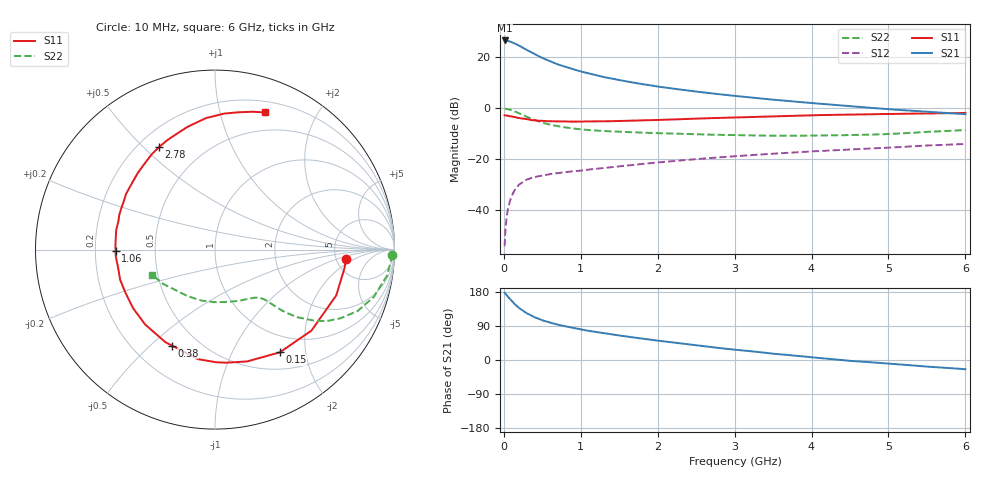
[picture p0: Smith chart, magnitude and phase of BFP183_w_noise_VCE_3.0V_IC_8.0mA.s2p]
! Infineon Technologies  Discrete & RF Semiconductors
! BFP183
! VCE = 3.0 V,  IC =  8.0 mA
! Common Emitter S-Parameters:  Jan 2016
# GHz  S  MA  R  50
!  f  S11  S21  S12  S22
! GHz  MAG  ANG  MAG  ANG  MAG  ANG  MAG  ANG
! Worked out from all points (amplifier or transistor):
!   210 points, 10 MHz to 6 GHz, reference 50 ohm
!   highest |S21| = 26.6 dB at 10 MHz (marker M1)
!   |S21| within 3 dB of that: start of sweep to 254.7 MHz
!   unconditionally stable (mu >= 1): 1.28 GHz to 5.692 GHz
!   at 185 MHz: K = 0.22, MSG = 27.5 dB, |S12| = -30.3 dB
!   at 1.52 GHz: K = 1.07, MAG = 15.2 dB, |S12| = -22.6 dB
!   at 6 GHz: K = 0.96, MSG = 5.8 dB, |S12| = -13.9 dB
!   lowest NFmin = 1.30 dB at 450 MHz
!   S11 on the Smith chart (normalised r, x): 10 MHz: 6.16, -1.39; 150 MHz: 0.74, -1.55; 380 MHz: 0.36, -0.59; 1.06 GHz: 0.29, -0.00; 2.78 GHz: 0.28, +0.56; 6 GHz: 0.31, +1.39
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0.01  0.7327 -4.1  21.4 177.6  0.002 83.6  0.9887 -1.7
0.025  0.7253 -10.3  21.25 174.1  0.005 83.7  0.9796 -4.3
0.05  0.7222 -20.7  21.1 167.6  0.01 83.7  0.9696 -8.6
0.1  0.7017 -40.1  19.88 156.2  0.0189 71.1  0.9233 -16.6
0.15  0.6767 -57.8  18.44 145.8  0.0265 64.3  0.8651 -23.3
0.2  0.6482 -74.0  16.94 136.8  0.0323 57.2  0.7984 -28.6
0.24  0.6331 -84.5  15.59 130.9  0.0356 53.4  0.7486 -31.9
0.3  0.6176 -98.9  13.92 123.2  0.0404 48.8  0.6809 -35.6
0.38  0.5861 -114.2  11.99 115.0  0.0443 44.7  0.609 -38.6
0.4  0.5851 -118.2  11.56 112.6  0.0453 43.8  0.5913 -39.5
0.5  0.5705 -133.0  9.699 104.8  0.0486 40.5  0.5248 -41.7
0.6  0.5612 -144.3  8.389 98.6  0.0516 39.3  0.4799 -42.9
0.8  0.5546 -162.3  6.507 88.7  0.0562 37.9  0.4235 -44.2
1.02  0.5538 -177.1  5.195 80.0  0.061 38.4  0.3858 -45.6
1.06  0.5541 -179.4  5.021 78.6  0.0622 38.5  0.3811 -45.9
1.5  0.5672 160.2  3.584 64.6  0.0734 39.4  0.3488 -50.1
2.02  0.5941 140.4  2.653 50.6  0.0876 39.7  0.3269 -57.8
2.78  0.6501 118.7  1.908 32.0  0.1092 37.5  0.3036 -73.2
3.1  0.671 111.1  1.699 25.4  0.1182 36.0  0.2959 -80.9
4.1  0.7384 92.3  1.237 5.3  0.1461 30.2  0.2937 -108.7
5.1  0.7801 79.0  0.941 -11.0  0.1731 24.5  0.3196 -136.6
6  0.8141 69.8  0.77 -24.3  0.2009 16.9  0.3776 -158.3
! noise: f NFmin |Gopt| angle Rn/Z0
0.45  1.3  0.17  43  0.21
0.9  1.35  0.21  115  0.2
1.8  2.05  0.33  -177  0.14
